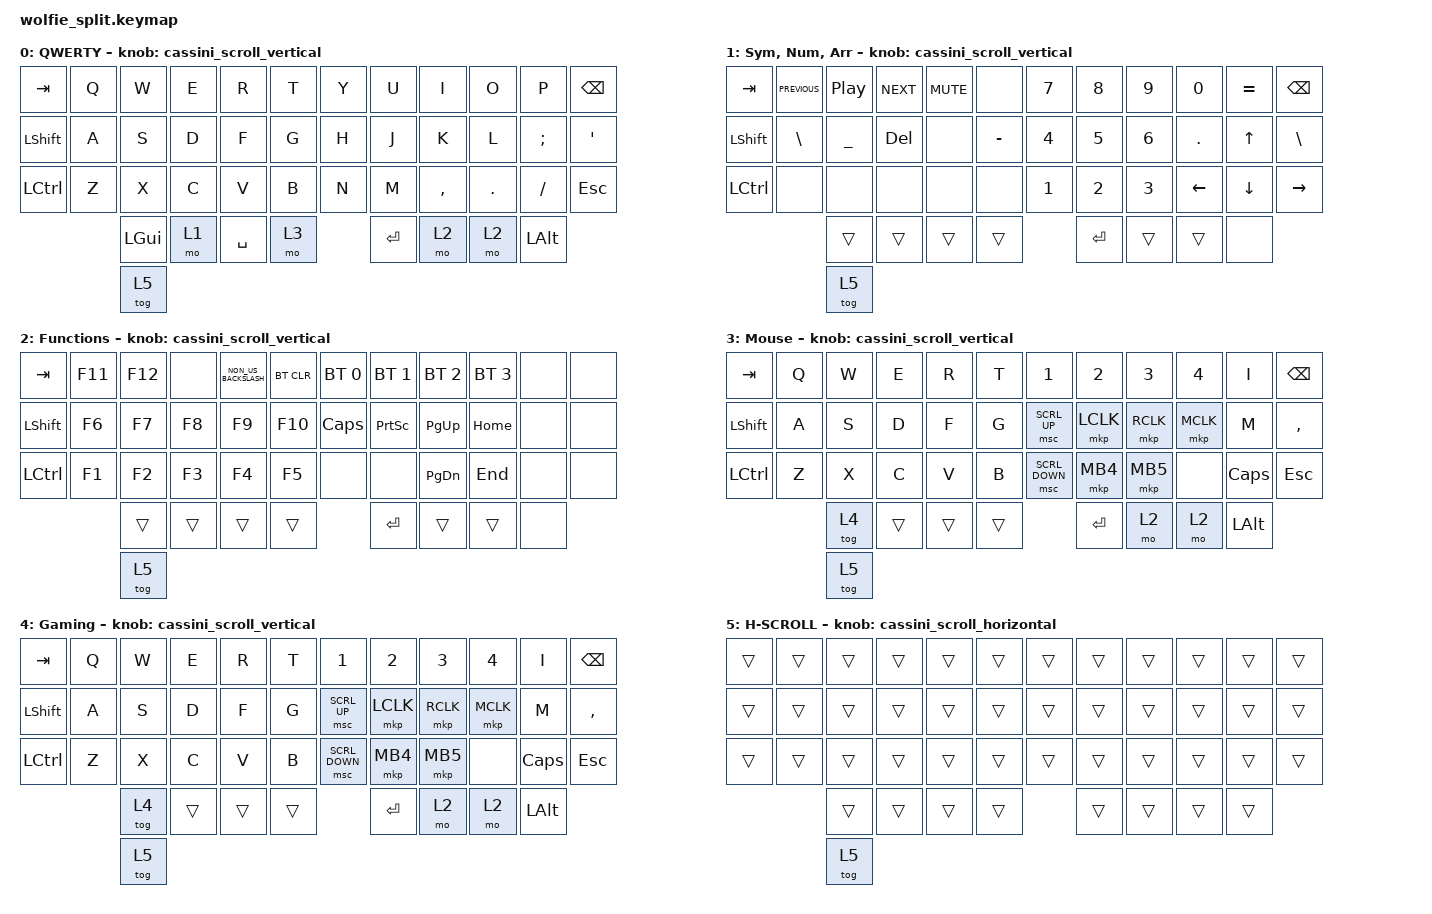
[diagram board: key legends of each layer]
/*
 * Wolfie Split Trackball — 44-key test keymap
 * Adapted from the Corne Choc Pro keymap for the Wolfie 44-position layout.
 *
 * Layer 0: QWERTY (default)
 * Layer 1: Sym, Num, Arr (momentary: &mo 1)
 * Layer 2: Functions (momentary: &mo 2)
 * Layer 3: Mouse (momentary: &mo 3)
 * Layer 4: Gaming (toggle: &tog 4 from Mouse, toggle off on Gaming)
 * Layer 5: H-SCROLL (encoder push &tog 5, transparent keys)
 *
 * Key positions: three rows of 12, eight thumbs, and EC11 push (45 total).
 * Keep wolfie_split.dtsi and the existing trackball/display files unchanged.
 * Left thumbs (left to right): Win / MO(1) / Space / MO(3).
 * Right thumbs (keymap order): Enter / MO(2) / MO(2) / Alt.
 * Mouse has its own revised 36-key layout; Gaming retains its previous mapping.
 * Both retain the proven eight-thumb configuration and EC11 push toggle.
 * Physical switch mapping must be confirmed on the keyboard after flashing.
 */

#include <behaviors.dtsi>
#include <dt-bindings/zmk/bt.h>
#include <dt-bindings/zmk/keys.h>
#include <dt-bindings/zmk/pointing.h>

/ {
    behaviors {
        /* Encoder clockwise now scrolls UP (reversed from earlier).
         * MOVE_Y(18) vs default 10 gives roughly 80% faster scrolling;
         * retain the proven 160ms press interval.
         */
        cassini_scroll_vertical: cassini_scroll_vertical {
            compatible = "zmk,behavior-sensor-rotate";
            #sensor-binding-cells = <0>;
            bindings = <&msc MOVE_Y(18)>, <&msc MOVE_Y(-18)>;
            tap-ms = <160>;
        };

        /* Active when the encoder push button toggles layer 5.
         * Clockwise scrolls right; counterclockwise scrolls left.
         */
        cassini_scroll_horizontal: cassini_scroll_horizontal {
            compatible = "zmk,behavior-sensor-rotate";
            #sensor-binding-cells = <0>;
            bindings = <&msc MOVE_X(18)>, <&msc MOVE_X(-18)>;
            tap-ms = <160>;
        };
    };

    keymap {
        compatible = "zmk,keymap";

        default_layer {
            display-name = "QWERTY";

            /* Each of rows 0-2: 6 left keys, then 6 right keys.
             * Thumbs: 4 left keys, then 4 right keys. */

            bindings = <
&kp TAB           &kp Q  &kp W  &kp E     &kp R  &kp T      &kp Y    &kp U  &kp I      &kp O       &kp P     &kp BSPC
&kp LEFT_SHIFT    &kp A  &kp S  &kp D     &kp F  &kp G      &kp H    &kp J  &kp K      &kp L       &kp SEMI  &kp SQT
&kp LEFT_CONTROL  &kp Z  &kp X  &kp C     &kp V  &kp B      &kp N    &kp M  &kp COMMA  &kp PERIOD  &kp FSLH  &kp ESCAPE
                         &kp LGUI  &mo 1    &kp SPACE  &mo 3  &kp RET  &mo 2  &mo 2   &kp LALT
                         &tog 5
            >;
            sensor-bindings = <&cassini_scroll_vertical>;
        };

        lower_layer {
            display-name = "Sym, Num, Arr";

            /* Each of rows 0-2: 6 left keys, then 6 right keys.
             * Thumbs: 4 left keys, then 4 right keys. */

            bindings = <
&kp TAB           &kp C_PREVIOUS  &kp C_PLAY_PAUSE  &kp C_NEXT  &kp C_MUTE  &none      &kp N7        &kp N8        &kp N9        &kp N0      &kp EQUAL     &kp BSPC
&kp LEFT_SHIFT    &kp BACKSLASH   &kp UNDER         &kp DEL     &none       &kp MINUS  &kp NUMBER_4  &kp N5        &kp NUMBER_6  &kp PERIOD  &kp UP_ARROW  &kp BACKSLASH
&kp LEFT_CONTROL  &none           &none             &none       &none       &none      &kp NUMBER_1  &kp NUMBER_2  &kp NUMBER_3  &kp LEFT    &kp DOWN      &kp RIGHT
                                  &trans  &trans  &trans  &trans  &kp RET       &trans        &trans  &none
                         &tog 5
            >;
            sensor-bindings = <&cassini_scroll_vertical>;
        };

        raise_layer {
            display-name = "Functions";

            /* Each of rows 0-2: 6 left keys, then 6 right keys.
             * Thumbs: 4 left keys, then 4 right keys. */

            bindings = <
&kp TAB           &kp F11  &kp F12  &none     &kp NON_US_BACKSLASH  &bt BT_CLR  &bt BT_SEL 0  &bt BT_SEL 1     &bt BT_SEL 2  &bt BT_SEL 3  &none  &none
&kp LEFT_SHIFT    &kp F6   &kp F7   &kp F8    &kp F9                &kp F10     &kp CAPS      &kp PRINTSCREEN  &kp PG_UP     &kp HOME      &none  &none
&kp LEFT_CONTROL  &kp F1   &kp F2   &kp F3    &kp F4                &kp F5      &none         &none            &kp PG_DN     &kp END       &none  &none
                                  &trans  &trans  &trans  &trans  &kp RET       &trans           &trans  &none
                         &tog 5
            >;
            sensor-bindings = <&cassini_scroll_vertical>;
        };

        layer_3 {
            display-name = "Mouse";
            bindings = <
&kp TAB  &kp Q  &kp W  &kp E  &kp R  &kp T                                     &kp N1  &kp N2  &kp N3  &kp N4  &kp I  &kp BSPC
&kp LEFT_SHIFT  &kp A  &kp S  &kp D  &kp F  &kp G                              &msc SCRL_UP  &mkp LCLK  &mkp RCLK  &mkp MCLK  &kp M  &kp COMMA
&kp LEFT_CONTROL  &kp Z  &kp X  &kp C  &kp V  &kp B                            &msc SCRL_DOWN  &mkp MB4  &mkp MB5  &none  &kp CAPS  &kp ESCAPE
                         &tog 4  &trans  &trans  &trans  &kp RET    &mo 2     &mo 2   &kp LALT
                         &tog 5
            >;
            sensor-bindings = <&cassini_scroll_vertical>;
        };

        layer_4 {
            display-name = "Gaming";
            bindings = <

&kp TAB  &kp Q  &kp W  &kp E  &kp R  &kp T                                     &kp N1  &kp N2  &kp N3  &kp N4  &kp I  &kp BSPC
&kp LEFT_SHIFT  &kp A  &kp S  &kp D  &kp F  &kp G                              &msc SCRL_UP  &mkp LCLK  &mkp RCLK  &mkp MCLK  &kp M  &kp COMMA
&kp LEFT_CONTROL  &kp Z  &kp X  &kp C  &kp V  &kp B                            &msc SCRL_DOWN  &mkp MB4  &mkp MB5  &none  &kp CAPS  &kp ESCAPE
                         &tog 4  &trans  &trans  &trans  &kp RET    &mo 2     &mo 2   &kp LALT
                         &tog 5
            >;
            sensor-bindings = <&cassini_scroll_vertical>;
        };

        scroll_horizontal_layer {
            display-name = "H-SCROLL";
            /* Transparent key layer: only scroll axis changes. */
            bindings = <
                &trans  &trans  &trans  &trans  &trans  &trans  &trans  &trans  &trans  &trans  &trans  &trans
                &trans  &trans  &trans  &trans  &trans  &trans  &trans  &trans  &trans  &trans  &trans  &trans
                &trans  &trans  &trans  &trans  &trans  &trans  &trans  &trans  &trans  &trans  &trans  &trans
                &trans  &trans  &trans  &trans  &trans  &trans  &trans  &trans
                &tog 5
            >;
            sensor-bindings = <&cassini_scroll_horizontal>;
        };
    };
};
